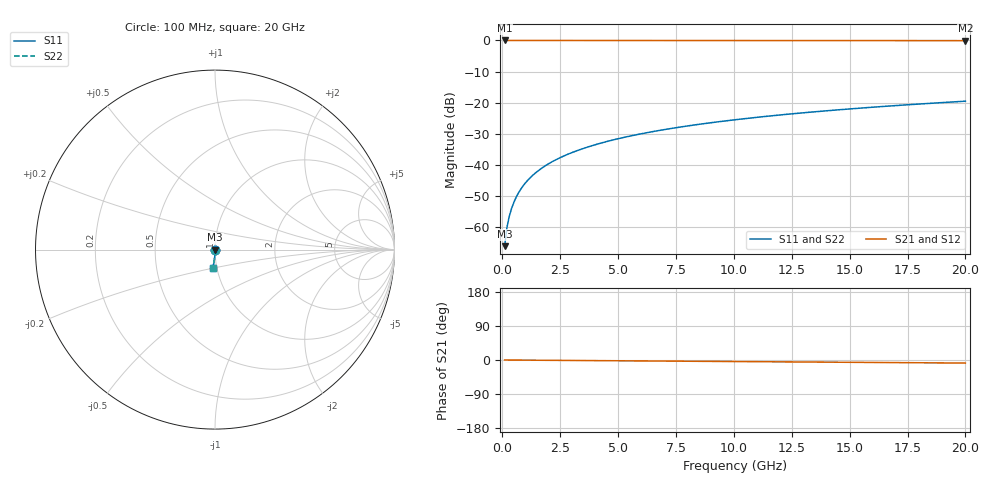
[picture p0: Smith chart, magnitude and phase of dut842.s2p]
! Touchstone file exported from HFSS 2026.1.0
!  File:  C:/ffzhzh/LocalFiles/Ansys_Project_Files/temp_train_TSV_842_1783184954_18472.aedt
!  Generated:  01:10:25 AM Jul  5, 2026
!  Design:  TSV
!  Project:  temp_train_TSV_842_1783184954_18472
! Variables:
!  h_bsmrdl = 2um
!  h_ox = 20um
!  h_rdl = 5um
!  h_sub = 56.34um
!  h_tmrdl = 5um
!  h_tsv = 56.34um
!  h_via = 3um
!  l_bsmrdl = 300um
!  l_sub = 425.76um
!  l_tmrdl = 200um
!  m_sub = 200um
!  pitch = 28.93um
!  r_tsv = 12.88um
!  s_tmrdl = 10um
!  w_bsmrdl = 18um
!  w_sub = 500um
!  w_tmrdl = 12um
!  x_tsv_center1 = 206um
!  x_tsv_center2 = 524um
!  x_tsv_center3 = 736um
!  x_tsv_center4 = 1054um
!  x_tsv_center5 = 1266um
!  x_tsv_center6 = 1584um
# GHz S MA R 50.000000
! Terminal data exported
! Port[1] = TSV1_1_T1
! Port[2] = TSV1_1_T2
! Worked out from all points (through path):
!   200 points, 100 MHz to 20 GHz, reference 50 ohm
!   highest |S21| = 0.00 dB at 100 MHz (marker M1); lowest = -0.1 dB at 20 GHz (marker M2)
!   group delay of S21, straight-line fit = 1.12 ps
!   lowest |S11| = -66.2 dB at 100 MHz (marker M3), VSWR 1.00, Z = 50 - j0.0481 ohm
!   |S11| at or under -10 dB: start of sweep to end of sweep
!   |S22| runs from -66.2 to -19.6 dB; largest |S21 - S12| = 1.1e-15
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0.1  0.0004885 -80.2  0.9999 -0.0  0.9999 -0.0  0.0004885 -80.2
! Gamma 0 0 0 0
! Port Impedance 50 0 50 0
0.2  0.0009728 -84.1  0.9999 -0.1  0.9999 -0.1  0.0009728 -84.1
0.3  0.001468 -85.2  0.9999 -0.1  0.9999 -0.1  0.001468 -85.2
0.4  0.001972 -85.7  0.9998 -0.2  0.9998 -0.2  0.001972 -85.7
0.5  0.002483 -86.1  0.9998 -0.2  0.9998 -0.2  0.002483 -86.1
0.7  0.003522 -86.6  0.9998 -0.3  0.9998 -0.3  0.003522 -86.6
0.8  0.004046 -86.8  0.9997 -0.3  0.9997 -0.3  0.004046 -86.8
1  0.005098 -87.3  0.9997 -0.4  0.9997 -0.4  0.005098 -87.3
1.2  0.006152 -87.7  0.9997 -0.5  0.9997 -0.5  0.006152 -87.7
1.4  0.007206 -88.0  0.9996 -0.6  0.9996 -0.6  0.007206 -88.0
1.7  0.008786 -88.4  0.9996 -0.7  0.9996 -0.7  0.008786 -88.4
2  0.01036 -88.7  0.9996 -0.8  0.9996 -0.8  0.01036 -88.7
2.7  0.01405 -89.4  0.9995 -1.1  0.9995 -1.1  0.01405 -89.4
3.5  0.01827 -89.9  0.9993 -1.4  0.9993 -1.4  0.01827 -89.9
4.2  0.02196 -90.3  0.9992 -1.7  0.9992 -1.7  0.02196 -90.3
5  0.02619 -90.8  0.9991 -2.0  0.9991 -2.0  0.02619 -90.8
6.8  0.03571 -91.6  0.9987 -2.8  0.9987 -2.8  0.03571 -91.6
8.3  0.04366 -92.4  0.9983 -3.4  0.9983 -3.4  0.04366 -92.4
10.1  0.05319 -93.2  0.9977 -4.1  0.9977 -4.1  0.05319 -93.2
13.4  0.07062 -94.6  0.9965 -5.4  0.9965 -5.4  0.07062 -94.6
16.7  0.08798 -96.0  0.995 -6.8  0.995 -6.8  0.08798 -96.0
20  0.1053 -97.4  0.9932 -8.1  0.9932 -8.1  0.1053 -97.4
